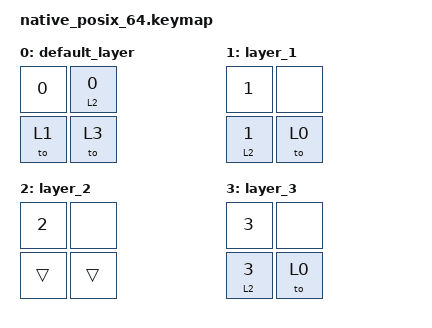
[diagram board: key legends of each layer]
#include <behaviors.dtsi>
#include <dt-bindings/zmk/keys.h>
#include <dt-bindings/zmk/kscan_mock.h>

&lt {
    flavor = "balanced";
};

/ {
    keymap {
        compatible = "zmk,keymap";
        default_layer {
            bindings = <
                &kp N0 &lt 2 N0
                &to 1 &to 3
            >;
        };
        layer_1 {
            bindings = <
                &kp N1 &none
                &lt 2 N1 &to 0
            >;
        };
        layer_2 {
            bindings = <
                &kp N2 &none
                &trans &trans
            >;
        };
        layer_3 {
            bindings = <
                &kp N3 &none
                &lt 2 N3 &to 0
            >;
        };
    };
};

&kscan {
  events = <
    // LT 0->2 and get 2
    ZMK_MOCK_PRESS(0,1,10)
    ZMK_MOCK_PRESS(0,0,10)
    ZMK_MOCK_RELEASE(0,0,10)
    ZMK_MOCK_RELEASE(0,1,10)

    // TO 1
    ZMK_MOCK_PRESS(1,0,10)
    ZMK_MOCK_RELEASE(1,0,10)

    // LT 1->2 and get 2
    ZMK_MOCK_PRESS(1,0,10)
    ZMK_MOCK_PRESS(0,0,10)
    ZMK_MOCK_RELEASE(0,0,10)
    ZMK_MOCK_RELEASE(1,0,10)

    // TO 0
    ZMK_MOCK_PRESS(1,1,10)
    ZMK_MOCK_RELEASE(1,1,10)

    // TO 3
    ZMK_MOCK_PRESS(1,1,10)
    ZMK_MOCK_RELEASE(1,1,10)

    // LT 3->2 and get 2
    ZMK_MOCK_PRESS(1,0,10)
    ZMK_MOCK_PRESS(0,0,10)
    ZMK_MOCK_RELEASE(0,0,10)
    ZMK_MOCK_RELEASE(1,0,10)
    >;
};
